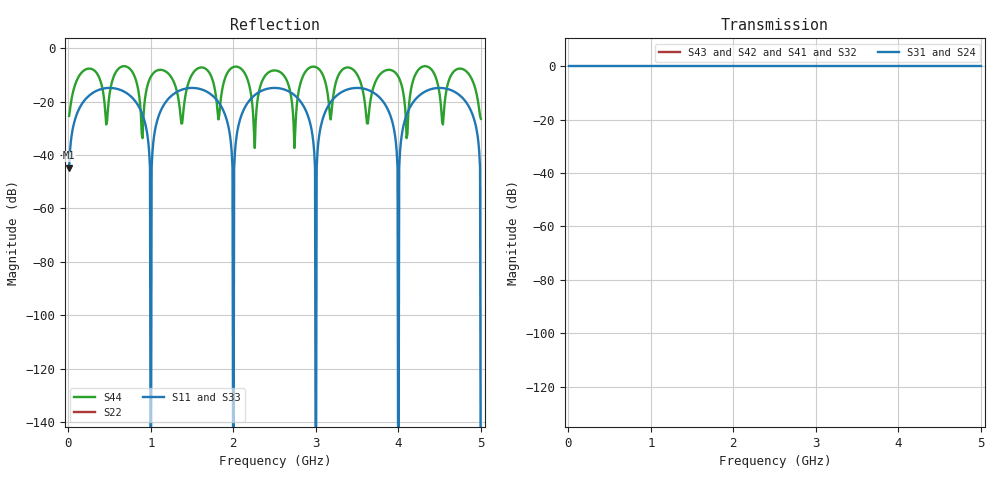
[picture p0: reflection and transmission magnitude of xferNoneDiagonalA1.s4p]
# MHz MA S R 50.0
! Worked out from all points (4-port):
!   500 points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, 10 MHz to 5 GHz, reference 50 ohm
!   strongest paths, dB at 10 MHz, 1.26 GHz, 2.51 GHz, 3.76 GHz, 5 GHz:
!     S31: 0.0, 0.0, 0.0, 0.0, 0.0
!     S24: 0.0, -0.1, -0.1, -0.1, 0.0
!     S43: -, -, -, -, -
!     S42: -, -, -, -, -
!     S41: -, -, -, -, -
!     S32: -, -, -, -, -
!   lowest |S11| = -44.8 dB at 10 MHz (marker M1), VSWR 1.01, Z = 50 + j0.576 ohm
!   |S11| at or under -10 dB: start of sweep to end of sweep
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10  0.005759 88.2  0 0.0  1 -3.7  0 0.0
    0 0.0  0 0.0  0 0.0  1 -3.3
    1 0.0  0 0.0  0.005759 88.2  0 0.0
    0 0.0  0 0.0  0 0.0  0.05406 -36.2
540  0.179 -7.1  0 0.0  0.968 165.8  0 0.0
     0 0.0  0 0.0  0 0.0  0.9744 -176.1
     1 0.0  0 0.0  0.179 -7.1  0 0.0
     0 0.0  0 0.0  0 0.0  0.2653 67.2
1000  0 90.0  0 0.0  1 -0.0  0 0.0
      0 0.0  0 0.0  0 0.0  0.9853 36.0
      1 0.0  0 0.0  0 0.1  0 0.0
      0 0.0  0 0.0  0 0.0  0.2918 -48.3
2780  0.1161 -49.9  0 0.0  0.9865 80.1  0 0.0
      0 0.0  0 0.0  0 0.0  0.9978 179.2
      1 0.0  0 0.0  0.1161 -49.9  0 0.0
      0 0.0  0 0.0  0 0.0  0.1195 161.0
3230  0.1204 48.1  0 0.0  0.9855 -83.7  0 0.0
      0 0.0  0 0.0  0 0.0  0.9847 32.4
      1 0.0  0 0.0  0.1204 48.1  0 0.0
      0 0.0  0 0.0  0 0.0  0.1895 29.6
4550  0.1782 -8.9  0 0.0  0.9683 162.3  0 0.0
      0 0.0  0 0.0  0 0.0  0.9834 -34.1
      1 0.0  0 0.0  0.1782 -8.9  0 0.0
      0 0.0  0 0.0  0 0.0  0.05989 8.6
5000  0 -90.0  0 0.0  1 0.0  0 0.0
      0 0.0  0 0.0  0 0.0  1 -180.0
      1 0.0  0 0.0  0 -0.1  0 0.0
      0 0.0  0 0.0  0 0.0  0.04762 0.0
